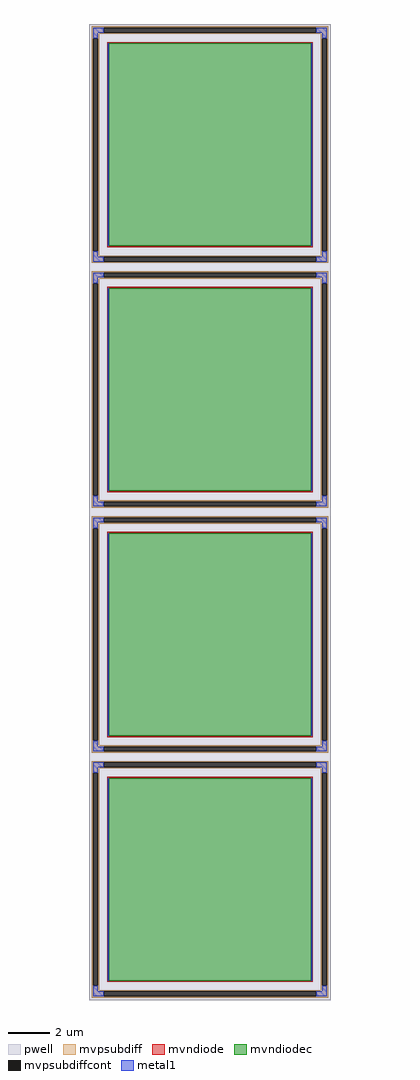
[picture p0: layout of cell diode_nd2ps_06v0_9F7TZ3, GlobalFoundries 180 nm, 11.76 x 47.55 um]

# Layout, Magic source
magic
tech gf180mcuD
magscale 1 10
<< pwell >>
rect -1176 -4755 1176 4755
<< mvpsubdiff >>
rect -1152 4718 1152 4731
rect -1152 4672 -1036 4718
rect 1036 4672 1152 4718
rect -1152 4659 1152 4672
rect -1152 4615 -1080 4659
rect -1152 2543 -1139 4615
rect -1093 2543 -1080 4615
rect 1080 4615 1152 4659
rect -1152 2499 -1080 2543
rect 1080 2543 1093 4615
rect 1139 2543 1152 4615
rect 1080 2499 1152 2543
rect -1152 2486 1152 2499
rect -1152 2440 -1036 2486
rect 1036 2440 1152 2486
rect -1152 2427 1152 2440
rect -1152 2332 1152 2345
rect -1152 2286 -1036 2332
rect 1036 2286 1152 2332
rect -1152 2273 1152 2286
rect -1152 2229 -1080 2273
rect -1152 157 -1139 2229
rect -1093 157 -1080 2229
rect 1080 2229 1152 2273
rect -1152 113 -1080 157
rect 1080 157 1093 2229
rect 1139 157 1152 2229
rect 1080 113 1152 157
rect -1152 100 1152 113
rect -1152 54 -1036 100
rect 1036 54 1152 100
rect -1152 41 1152 54
rect -1152 -54 1152 -41
rect -1152 -100 -1036 -54
rect 1036 -100 1152 -54
rect -1152 -113 1152 -100
rect -1152 -157 -1080 -113
rect -1152 -2229 -1139 -157
rect -1093 -2229 -1080 -157
rect 1080 -157 1152 -113
rect -1152 -2273 -1080 -2229
rect 1080 -2229 1093 -157
rect 1139 -2229 1152 -157
rect 1080 -2273 1152 -2229
rect -1152 -2286 1152 -2273
rect -1152 -2332 -1036 -2286
rect 1036 -2332 1152 -2286
rect -1152 -2345 1152 -2332
rect -1152 -2440 1152 -2427
rect -1152 -2486 -1036 -2440
rect 1036 -2486 1152 -2440
rect -1152 -2499 1152 -2486
rect -1152 -2543 -1080 -2499
rect -1152 -4615 -1139 -2543
rect -1093 -4615 -1080 -2543
rect 1080 -2543 1152 -2499
rect -1152 -4659 -1080 -4615
rect 1080 -4615 1093 -2543
rect 1139 -4615 1152 -2543
rect 1080 -4659 1152 -4615
rect -1152 -4672 1152 -4659
rect -1152 -4718 -1036 -4672
rect 1036 -4718 1152 -4672
rect -1152 -4731 1152 -4718
<< mvpsubdiffcont >>
rect -1036 4672 1036 4718
rect -1139 2543 -1093 4615
rect 1093 2543 1139 4615
rect -1036 2440 1036 2486
rect -1036 2286 1036 2332
rect -1139 157 -1093 2229
rect 1093 157 1139 2229
rect -1036 54 1036 100
rect -1036 -100 1036 -54
rect -1139 -2229 -1093 -157
rect 1093 -2229 1139 -157
rect -1036 -2332 1036 -2286
rect -1036 -2486 1036 -2440
rect -1139 -4615 -1093 -2543
rect 1093 -4615 1139 -2543
rect -1036 -4718 1036 -4672
<< mvndiode >>
rect -1000 4566 1000 4579
rect -1000 2592 -987 4566
rect 987 2592 1000 4566
rect -1000 2579 1000 2592
rect -1000 2180 1000 2193
rect -1000 206 -987 2180
rect 987 206 1000 2180
rect -1000 193 1000 206
rect -1000 -206 1000 -193
rect -1000 -2180 -987 -206
rect 987 -2180 1000 -206
rect -1000 -2193 1000 -2180
rect -1000 -2592 1000 -2579
rect -1000 -4566 -987 -2592
rect 987 -4566 1000 -2592
rect -1000 -4579 1000 -4566
<< mvndiodec >>
rect -987 2592 987 4566
rect -987 206 987 2180
rect -987 -2180 987 -206
rect -987 -4566 987 -2592
<< metal1 >>
rect -1139 4672 -1036 4718
rect 1036 4672 1139 4718
rect -1139 4615 -1093 4672
rect 1093 4615 1139 4672
rect -998 2592 -987 4566
rect 987 2592 998 4566
rect -1139 2486 -1093 2543
rect 1093 2486 1139 2543
rect -1139 2440 -1036 2486
rect 1036 2440 1139 2486
rect -1139 2286 -1036 2332
rect 1036 2286 1139 2332
rect -1139 2229 -1093 2286
rect 1093 2229 1139 2286
rect -998 206 -987 2180
rect 987 206 998 2180
rect -1139 100 -1093 157
rect 1093 100 1139 157
rect -1139 54 -1036 100
rect 1036 54 1139 100
rect -1139 -100 -1036 -54
rect 1036 -100 1139 -54
rect -1139 -157 -1093 -100
rect 1093 -157 1139 -100
rect -998 -2180 -987 -206
rect 987 -2180 998 -206
rect -1139 -2286 -1093 -2229
rect 1093 -2286 1139 -2229
rect -1139 -2332 -1036 -2286
rect 1036 -2332 1139 -2286
rect -1139 -2486 -1036 -2440
rect 1036 -2486 1139 -2440
rect -1139 -2543 -1093 -2486
rect 1093 -2543 1139 -2486
rect -998 -4566 -987 -2592
rect 987 -4566 998 -2592
rect -1139 -4672 -1093 -4615
rect 1093 -4672 1139 -4615
rect -1139 -4718 -1036 -4672
rect 1036 -4718 1139 -4672
<< properties >>
string diode_nd2ps_06v0_9F7TZ3 parameters
string FIXED_BBOX -1116 2463 1116 4695
string gencell diode_nd2ps_06v0
string library gf180mcu
string parameters w 10 l 10 area 100.0 peri 40.0 nx 1 ny 4 dummy 0 lmin 0.45 wmin 0.45 class diode elc 1 erc 1 etc 1 ebc 1 doverlap 0 full_metal 1 compatible {diode_nd2ps_03v3 diode_nd2ps_06v0}
<< end >>
